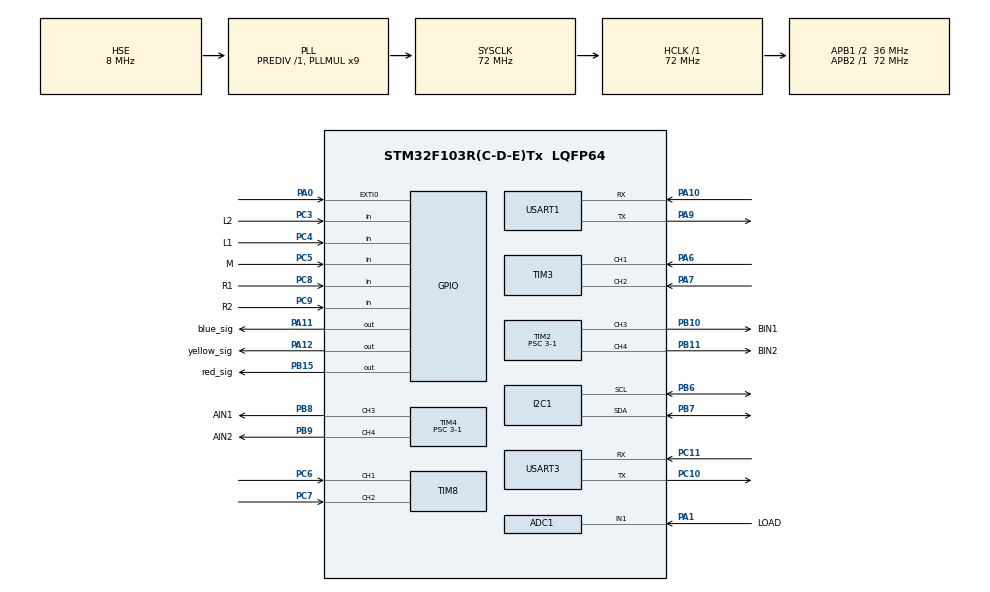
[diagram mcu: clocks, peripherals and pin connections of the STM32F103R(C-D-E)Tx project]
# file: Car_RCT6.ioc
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ADC1.Channel-1\#ChannelRegularConversion=ADC_CHANNEL_1
ADC1.NbrOfConversionFlag=1
ADC1.Rank-1\#ChannelRegularConversion=1
ADC1.SamplingTime-1\#ChannelRegularConversion=ADC_SAMPLETIME_1CYCLE_5
ADC1.master=1
Mcu.Family=STM32F1
Mcu.Name=STM32F103R(C-D-E)Tx
Mcu.Package=LQFP64
NVIC.EXTI0_IRQn=true\:3\:3\:true\:false\:true\:true\:true\:true
NVIC.PriorityGroup=NVIC_PRIORITYGROUP_2
NVIC.TIM6_IRQn=true\:3\:0\:true\:false\:true\:true\:true\:true
NVIC.TIM7_IRQn=true\:1\:0\:true\:false\:true\:true\:true\:true
NVIC.USART1_IRQn=true\:3\:1\:true\:false\:true\:true\:true\:true
NVIC.USART3_IRQn=true\:2\:0\:true\:false\:true\:true\:true\:true
PA0-WKUP.GPIO_ModeDefaultEXTI=GPIO_MODE_IT_FALLING
PA0-WKUP.GPIO_PuPd=GPIO_PULLUP
PA0-WKUP.Signal=GPXTI0
PA1.GPIO_Label=LOAD
PA1.Signal=ADCx_IN1
PA10.Mode=Asynchronous
PA10.Signal=USART1_RX
PA11.GPIO_Label=blue_sig
PA11.GPIO_ModeDefaultOutputPP=GPIO_MODE_OUTPUT_PP
PA11.GPIO_PuPd=GPIO_PULLDOWN
PA11.GPIO_Speed=GPIO_SPEED_FREQ_MEDIUM
PA11.Signal=GPIO_Output
PA12.GPIO_Label=yellow_sig
PA12.GPIO_ModeDefaultOutputPP=GPIO_MODE_OUTPUT_PP
PA12.GPIO_PuPd=GPIO_PULLDOWN
PA12.GPIO_Speed=GPIO_SPEED_FREQ_MEDIUM
PA12.Signal=GPIO_Output
PA13.Mode=Serial_Wire
PA13.Signal=SYS_JTMS-SWDIO
PA14.Mode=Serial_Wire
PA14.Signal=SYS_JTCK-SWCLK
PA6.GPIO_PuPd=GPIO_NOPULL
PA6.Signal=S_TIM3_CH1
PA7.GPIO_PuPd=GPIO_NOPULL
PA7.Signal=S_TIM3_CH2
PA9.Mode=Asynchronous
PA9.Signal=USART1_TX
PB10.GPIO_Label=BIN1
PB10.Signal=S_TIM2_CH3
PB11.GPIO_Label=BIN2
PB11.Signal=S_TIM2_CH4
PB15.GPIO_Label=red_sig
PB15.GPIO_ModeDefaultOutputPP=GPIO_MODE_OUTPUT_PP
PB15.GPIO_PuPd=GPIO_PULLDOWN
PB15.GPIO_Speed=GPIO_SPEED_FREQ_MEDIUM
PB15.Signal=GPIO_Output
PB6.Mode=I2C
PB6.Signal=I2C1_SCL
PB7.Mode=I2C
PB7.Signal=I2C1_SDA
PB8.GPIO_Label=AIN1
PB8.Signal=S_TIM4_CH3
PB9.GPIO_Label=AIN2
PB9.Signal=S_TIM4_CH4
PC10.Mode=Asynchronous
PC10.Signal=USART3_TX
PC11.Mode=Asynchronous
PC11.Signal=USART3_RX
PC3.GPIO_Label=L2
PC3.GPIO_PuPd=GPIO_NOPULL
PC3.Signal=GPIO_Input
PC4.GPIO_Label=L1
PC4.GPIO_PuPd=GPIO_NOPULL
PC4.Signal=GPIO_Input
PC5.GPIO_Label=M
PC5.GPIO_PuPd=GPIO_NOPULL
PC5.Signal=GPIO_Input
PC6.GPIO_PuPd=GPIO_NOPULL
PC6.Signal=S_TIM8_CH1
PC7.GPIO_PuPd=GPIO_NOPULL
PC7.Signal=S_TIM8_CH2
PC8.GPIO_Label=R1
PC8.GPIO_PuPd=GPIO_NOPULL
PC8.Signal=GPIO_Input
PC9.GPIO_Label=R2
PC9.GPIO_PuPd=GPIO_NOPULL
PC9.Signal=GPIO_Input
PD0-OSC_IN.Mode=HSE-External-Oscillator
PD0-OSC_IN.Signal=RCC_OSC_IN
PD1-OSC_OUT.Mode=HSE-External-Oscillator
PD1-OSC_OUT.Signal=RCC_OSC_OUT
ProjectManager.HeapSize=0x200
ProjectManager.StackSize=0x400
ProjectManager.TargetToolchain=MDK-ARM V5
RCC.ADCPresc=RCC_ADCPCLK2_DIV6
RCC.AHBFreq_Value=72000000
RCC.APB1CLKDivider=RCC_HCLK_DIV2
RCC.APB1Freq_Value=36000000
RCC.APB1TimFreq_Value=72000000
RCC.APB2Freq_Value=72000000
RCC.APB2TimFreq_Value=72000000
RCC.HCLKFreq_Value=72000000
RCC.PLLMUL=RCC_PLL_MUL9
RCC.PLLSourceVirtual=RCC_PLLSOURCE_HSE
RCC.SYSCLKFreq_VALUE=72000000
RCC.SYSCLKSource=RCC_SYSCLKSOURCE_PLLCLK
RCC.USBFreq_Value=72000000
SH.ADCx_IN1.0=ADC1_IN1,IN1
SH.S_TIM2_CH3.0=TIM2_CH3,PWM Generation3 CH3
SH.S_TIM2_CH4.0=TIM2_CH4,PWM Generation4 CH4
SH.S_TIM3_CH1.0=TIM3_CH1,Encoder_Interface
SH.S_TIM3_CH2.0=TIM3_CH2,Encoder_Interface
SH.S_TIM4_CH3.0=TIM4_CH3,PWM Generation3 CH3
SH.S_TIM4_CH4.0=TIM4_CH4,PWM Generation4 CH4
SH.S_TIM8_CH1.0=TIM8_CH1,Encoder_Interface
SH.S_TIM8_CH2.0=TIM8_CH2,Encoder_Interface
TIM2.AutoReloadPreload=TIM_AUTORELOAD_PRELOAD_ENABLE
TIM2.Channel-PWM\ Generation3\ CH3=TIM_CHANNEL_3
TIM2.Channel-PWM\ Generation4\ CH4=TIM_CHANNEL_4
TIM2.Period=1000-1
TIM2.Prescaler=3-1
TIM3.EncoderMode=TIM_ENCODERMODE_TI12
TIM3.IC1Filter=4
TIM3.IC1Polarity=TIM_ICPOLARITY_RISING
TIM3.IC1Prescaler=TIM_ICPSC_DIV1
TIM3.IC2Filter=4
TIM3.IC2Polarity=TIM_ICPOLARITY_RISING
TIM3.IC2Prescaler=TIM_ICPSC_DIV1
TIM4.AutoReloadPreload=TIM_AUTORELOAD_PRELOAD_ENABLE
TIM4.Channel-PWM\ Generation3\ CH3=TIM_CHANNEL_3
TIM4.Channel-PWM\ Generation4\ CH4=TIM_CHANNEL_4
TIM4.Period=1000-1
TIM4.Prescaler=3-1
TIM6.Period=5000-1
TIM6.Prescaler=7200-1
TIM7.Period=200-1
TIM7.Prescaler=7200-1
TIM8.EncoderMode=TIM_ENCODERMODE_TI12
TIM8.IC1Filter=4
TIM8.IC1Prescaler=TIM_ICPSC_DIV1
TIM8.IC2Filter=4
TIM8.IC2Prescaler=TIM_ICPSC_DIV1
USART1.VirtualMode=VM_ASYNC
USART3.VirtualMode=VM_ASYNC
VP_TIM6_VS_ClockSourceINT.Mode=Enable_Timer
VP_TIM7_VS_ClockSourceINT.Mode=Enable_Timer
board=custom

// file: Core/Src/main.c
/* USER CODE BEGIN Header */
/**
  ******************************************************************************
  * @file           : main.c
  * @brief          : Main program body
  ******************************************************************************
  * @attention
  *
  * <h2><center>&copy; Copyright (c) 2021 STMicroelectronics.
  * All rights reserved.</center></h2>
  *
  * This software component is licensed by ST under BSD 3-Clause license,
  * the "License"; You may not use this file except in compliance with the
  * License. You may obtain a copy of the License at:
  *                        opensource.org/licenses/BSD-3-Clause
  *
  ******************************************************************************
  */
/* USER CODE END Header */
#include "main.h"
#include "adc.h"
#include "i2c.h"
#include "tim.h"
#include "usart.h"
#include "gpio.h"

/* USER CODE BEGIN Includes */
#include "oled.h"
#include "bsp_key.h"
#include "bsp_sys.h"
#include "bsp_delay.h"
#include "control.h"
#include "bsp_led.h"
#include "menu.h"
#include "Fire_protocol.h"

#include "bsp_pid.h"
#include "openmv.h"
#include "bsp_GraySensor.h"

#include "app_task.h"

/* USER CODE END Includes */

/* USER CODE BEGIN PV */

/* Do_count / Do2_count 这套任务状态已经搬到 User/app/app_task.c 的路线表里 */
//int a=0;
u16 showOLEDTime = 0;
u16 SendTime = 0;

//extern unsigned char BMP3[];
//extern unsigned char BMP4[];

/* USER CODE END PV */

void SystemClock_Config(void);

int main(void)
{

  /* MCU Configuration--------------------------------------------------------*/

  /* Reset of all peripherals, Initializes the Flash interface and the Systick. */
  HAL_Init();

  /* USER CODE BEGIN Init */
	LED_Init();
	KEY_GPIO_Init();

  /* USER CODE END Init */

  /* Configure the system clock */
  SystemClock_Config();

  /* USER CODE BEGIN SysInit */
	delay_init(72);

  /* USER CODE END SysInit */

  /* Initialize all configured peripherals */
  MX_GPIO_Init();
  MX_ADC1_Init();
  MX_TIM3_Init();
  MX_TIM4_Init();
  MX_TIM6_Init();
  MX_USART3_UART_Init();
  MX_TIM7_Init();
  MX_TIM8_Init();
  MX_TIM2_Init();
  MX_USART1_UART_Init();
  MX_I2C1_Init();
  /* USER CODE BEGIN 2 */

	HAL_TIM_Encoder_Start(&htim3, TIM_CHANNEL_ALL);   //开启TIM3的编码器接口模式
  HAL_TIM_Encoder_Start(&htim8, TIM_CHANNEL_ALL);   //开启TIM8的编码器接口模式

	HAL_TIM_PWM_Start(&htim2,TIM_CHANNEL_3);       //Motor 2
	HAL_TIM_PWM_Start(&htim2,TIM_CHANNEL_4);

	HAL_TIM_PWM_Start(&htim4,TIM_CHANNEL_3);     //Motor1
	HAL_TIM_PWM_Start(&htim4,TIM_CHANNEL_4);

	delay_ms(100);    //延时一下，让OLED正常输出
	OLED_Init();
	delay_ms(100);    //延时一下，让OLED正常输出

  OLED_Clear(); //因为是直接进来的，所以清除一下比较好

	PID_param_init();

  set_motor2_enable();    //上位机调试pid时才需要手动使能电机的PWM输出
	set_motor_enable();

	 HAL_TIM_Base_Start_IT(&htim7);
	 HAL_TIM_Base_Start_IT(&htim6);

	 HAL_UART_Receive_IT(&huart3,&uart3_rxbuff,1);  //openmv通信串口

	 __HAL_UART_ENABLE_IT(&huart1,UART_IT_RXNE);    //串口1接收中断，只开启接收中断，与上位机通信

	//__HAL_UART_ENABLE_IT(&huart3,UART_IT_RXNE);

		protocol_init();       //这个初始化了才能通过上位机控制呀, 再看这个注意事项

	 __HAL_GPIO_EXTI_CLEAR_IT(GPIO_PIN_0);

  /* USER CODE END 2 */

  /* Infinite loop */
  /* USER CODE BEGIN WHILE */
	App_Task_Init();          /* 主任务状态机初始化，先进入等待识别病房号的阶段 */

  while (1)
  {
		App_Task_Loop();        /* 识别房号 -> 送药 -> 等药品取走 -> 返回，全程不阻塞 */

    /* USER CODE END WHILE */

  }
}

void SystemClock_Config(void)
{
  RCC_OscInitTypeDef RCC_OscInitStruct = {0};
  RCC_ClkInitTypeDef RCC_ClkInitStruct = {0};
  RCC_PeriphCLKInitTypeDef PeriphClkInit = {0};

  /** Initializes the RCC Oscillators according to the specified parameters
  * in the RCC_OscInitTypeDef structure.
  */
  RCC_OscInitStruct.OscillatorType = RCC_OSCILLATORTYPE_HSE;
  RCC_OscInitStruct.HSEState = RCC_HSE_ON;
  RCC_OscInitStruct.HSEPredivValue = RCC_HSE_PREDIV_DIV1;
  RCC_OscInitStruct.HSIState = RCC_HSI_ON;
  RCC_OscInitStruct.PLL.PLLState = RCC_PLL_ON;
  RCC_OscInitStruct.PLL.PLLSource = RCC_PLLSOURCE_HSE;
  RCC_OscInitStruct.PLL.PLLMUL = RCC_PLL_MUL9;
  if (HAL_RCC_OscConfig(&RCC_OscInitStruct) != HAL_OK)
  {
    Error_Handler();
  }

  /** Initializes the CPU, AHB and APB buses clocks
  */
  RCC_ClkInitStruct.ClockType = RCC_CLOCKTYPE_HCLK|RCC_CLOCKTYPE_SYSCLK
                              |RCC_CLOCKTYPE_PCLK1|RCC_CLOCKTYPE_PCLK2;
  RCC_ClkInitStruct.SYSCLKSource = RCC_SYSCLKSOURCE_PLLCLK;
  RCC_ClkInitStruct.AHBCLKDivider = RCC_SYSCLK_DIV1;
  RCC_ClkInitStruct.APB1CLKDivider = RCC_HCLK_DIV2;
  RCC_ClkInitStruct.APB2CLKDivider = RCC_HCLK_DIV1;

  if (HAL_RCC_ClockConfig(&RCC_ClkInitStruct, FLASH_LATENCY_2) != HAL_OK)
  {
    Error_Handler();
  }
  PeriphClkInit.PeriphClockSelection = RCC_PERIPHCLK_ADC;
  PeriphClkInit.AdcClockSelection = RCC_ADCPCLK2_DIV6;
  if (HAL_RCCEx_PeriphCLKConfig(&PeriphClkInit) != HAL_OK)
  {
    Error_Handler();
  }
}

void Error_Handler(void)
{
  __disable_irq();
  while (1)
  {
  }
}
